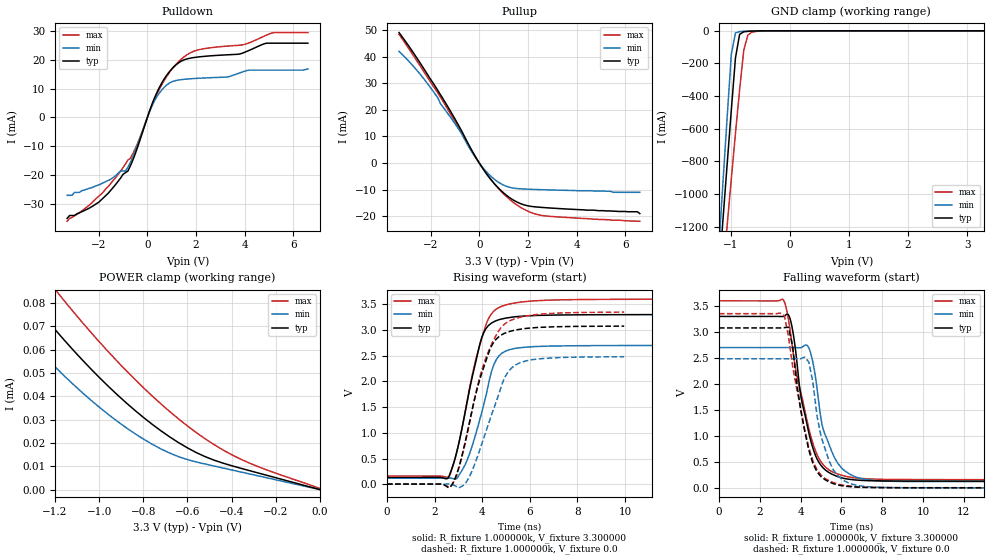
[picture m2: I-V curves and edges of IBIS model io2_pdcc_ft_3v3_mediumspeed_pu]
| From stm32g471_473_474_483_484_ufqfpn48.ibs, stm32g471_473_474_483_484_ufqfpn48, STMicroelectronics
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|   Model io2_pdcc_ft_3v3_mediumspeed_pu
[Model]  io2_pdcc_ft_3v3_mediumspeed_pu
Model_type I/O
Polarity   Non-Inverting
Enable   Active-Low
Vinl =   0.990000V
Vinh =   2.310000V
Vmeas =  1.650000V
Cref =   30.000000pF
Rref =   100.000000M
Vref =   0.0V
C_comp   4.843300pF   4.282700pF   5.299100pF
[Temperature Range]   25.000000   -40.000000   0.125000k
[Pullup Reference]   3.300000V   2.700000V   3.600000V
[Pulldown Reference]   0.0V   0.0V   0.0V
[POWER Clamp Reference]   3.300000V   2.700000V   3.600000V
[GND Clamp Reference]   0.0V   0.0V   0.0V
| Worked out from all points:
|   slope of the pulldown table from 0 to 0.495 V, typ, clamps not added: 47.5 ohm
|   slope of the pullup table from 0 to 0.495 V, typ, clamps not added: 77.3 ohm
|   GND clamp passes 1 mA (typ) near -0.58 V on its own axis
|   rising waveform, R_fixture 1.000000k, V_fixture 3.300000: 20-80 % time 868ps typ, 887ps min, 990ps max; typ from 0.131 V to 3.3 V
|   rising waveform, R_fixture 1.000000k, V_fixture 0.0: 20-80 % time 1.02ns typ, 1.1ns min, 1.13ns max; typ from 0.003 V to 3.07 V
|   falling waveform, R_fixture 1.000000k, V_fixture 3.300000: 20-80 % time 858ps typ, 889ps min, 1.08ns max; typ from 3.3 V to 0.132 V
|   falling waveform, R_fixture 1.000000k, V_fixture 0.0: 20-80 % time 806ps typ, 804ps min, 997ps max; typ from 3.08 V to 0.003 V
[Pulldown]
|Voltage   I(typ)   I(min)   I(max)
-3.3V     -35mA      -27mA      -36mA
-2V       -29.4mA    -23.4mA    -27.3mA
-800mV    -18.58mA   -17.27mA   -14.77mA
-400mV    -10.26mA   -9.232mA   -8.958mA
100mV     2.513mA    2.208mA    2.267mA
400mV     8.782mA    7.287mA    8.184mA
800mV     14.68mA    11.26mA    14.27mA
1.3V      19.01mA    12.98mA    19.48mA
2V        20.86mA    13.52mA    23.19mA
3.9V      22.24mA    15.74mA    25.13mA
5.2V      25.73mA    16.4mA     29.41mA
6.6V      25.73mA    16.8mA     29.41mA
[Pullup]
|Voltage   I(typ)   I(min)   I(max)
-3.3V     49.07mA    41.99mA    48.4mA
-2.6V     39.95mA    35.24mA    38.89mA
-1.9V     30.1mA     27.04mA    29mA
-1.6V     25.75mA    22.39mA    24.84mA
-1.1V     18.17mA    16.15mA    17.17mA
100mV     -1.429mA   -1.206mA   -1.392mA
600mV     -7.545mA   -5.957mA   -7.567mA
1.2V      -12.7mA    -9.001mA   -13.28mA
1.8V      -15.6mA    -9.729mA   -17.2mA
2.5V      -16.63mA   -9.993mA   -19.58mA
6.5V      -18.3mA    -11mA      -21.9mA
6.6V      -19mA      -11mA      -21.9mA
[GND_clamp]
|Voltage   I(typ)   I(min)   I(max)
-3.3V     -9.767A    -9.748A    -9.881A
-1.2V     -1.489A    -1.316A    -1.768A
-1.13V    -1.15A     -919.7mA   -1.477A
-1.06V    -814.4mA   -527.2mA   -1.189A
-990mV    -484.1mA   -143.5mA   -905.3mA
-920mV    -166.2mA   -12.77mA   -627.6mA
-850mV    -21.87mA   -4.511mA   -362mA
-780mV    -5.991mA   -2.83mA    -119.7mA
-710mV    -3.238mA   -1.563mA   -25.44mA
-640mV    -1.838mA   -627.8uA   -8.016mA
-290mV    -1.61uA    0A         -104.4uA
3.28V     0A         0A         431.1nA
[POWER_clamp]
|Voltage   I(typ)   I(min)   I(max)
-3.28V    303.8uA    205.1uA    343.4uA
-1.48V    102.1uA    81.91uA    121.2uA
-1.32V    82.36uA    64.52uA    100.5uA
-1.2V     68.64uA    52.64uA    85.87uA
-1.16V    64.29uA    48.93uA    81.18uA
-1.04V    51.98uA    38.56uA    67.7uA
-920mV    40.84uA    29.44uA    55.19uA
-760mV    28.01uA    19.47uA    40.17uA
-640mV    20.12uA    14.11uA    30.28uA
-520mV    14.14uA    10.98uA    21.8uA
-360mV    9.192uA    7.592uA    13.1uA
0V        0A         0A         460.3nA
[Ramp]
| variable   typ   min   max
dV/dt_r  1.96459/1.12222n   1.60560/1.18648n   2.14191/1.24354n
dV/dt_f  1.97053/1.31616n   1.61164/1.32435n   2.14786/1.32445n
R_load = 10.000000k
[Rising Waveform]
R_fixture= 1.000000k
V_fixture= 3.300000
V_fixture_min= 2.700000
V_fixture_max= 3.600000
|time   V(typ)   V(min)   V(max)
0s        131.1mV    120.9mV    159.8mV
2.613ns   160.4mV    121.1mV    156.1mV
2.943ns   646.2mV    115.9mV    649.5mV
3.273ns   1.37V      370.7mV    1.38V
3.604ns   2.127V     779.3mV    2.164V
3.964ns   2.823V     1.365V     2.805V
4.264ns   3.085V     1.943V     3.217V
4.655ns   3.189V     2.462V     3.422V
6.216ns   3.279V     2.676V     3.565V
14.95ns   3.298V     2.698V     3.598V
[Rising Waveform]
R_fixture= 1.000000k
V_fixture= 0.0
V_fixture_min= 0.0
V_fixture_max= 0.0
|time   V(typ)   V(min)   V(max)
0s        3.078mV    2.316mV    4.667mV
2.723ns   -13.71mV   -1.603mV   -19.84mV
3.003ns   301.4mV    -70.28mV   282.9mV
3.363ns   982.3mV    64.74mV    959.4mV
3.784ns   1.844V     514.2mV    1.869V
4.244ns   2.515V     1.144V     2.558V
4.585ns   2.817V     1.595V     2.894V
4.985ns   2.942V     2.104V     3.129V
6.106ns   3.039V     2.421V     3.288V
9.97ns    3.073V     2.479V     3.346V
[Falling Waveform]
R_fixture= 1.000000k
V_fixture= 3.300000
V_fixture_min= 2.700000
V_fixture_max= 3.600000
|time   V(typ)   V(min)   V(max)
0s        3.3V       2.7V       3.6V
3.123ns   3.298V     2.7V       3.63V
3.393ns   3.335V     2.7V       3.272V
3.784ns   2.553V     2.7V       2.221V
4.024ns   1.743V     2.7V       1.818V
4.414ns   1.044V     2.687V     1.128V
5.045ns   414.1mV    1.237V     479.2mV
5.435ns   287.8mV    796.6mV    337.6mV
7.057ns   144.3mV    175.1mV    181mV
14.95ns   131.6mV    121.3mV    160.4mV
[Falling Waveform]
R_fixture= 1.000000k
V_fixture= 0.0
V_fixture_min= 0.0
V_fixture_max= 0.0
|time   V(typ)   V(min)   V(max)
0s        3.078V     2.485V     3.353V
3.003ns   3.078V     2.485V     3.365V
3.203ns   3.084V     2.485V     3.317V
3.403ns   3.091V     2.485V     2.923V
4.204ns   1.092V     2.518V     1.119V
4.605ns   473.7mV    2.03V      522.7mV
5.005ns   217.3mV    990.2mV    247.8mV
5.405ns   115.8mV    512.8mV    136.9mV
6.607ns   19.88mV    65.07mV    29.68mV
99.7ns    3.085mV    2.322mV    4.677mV
